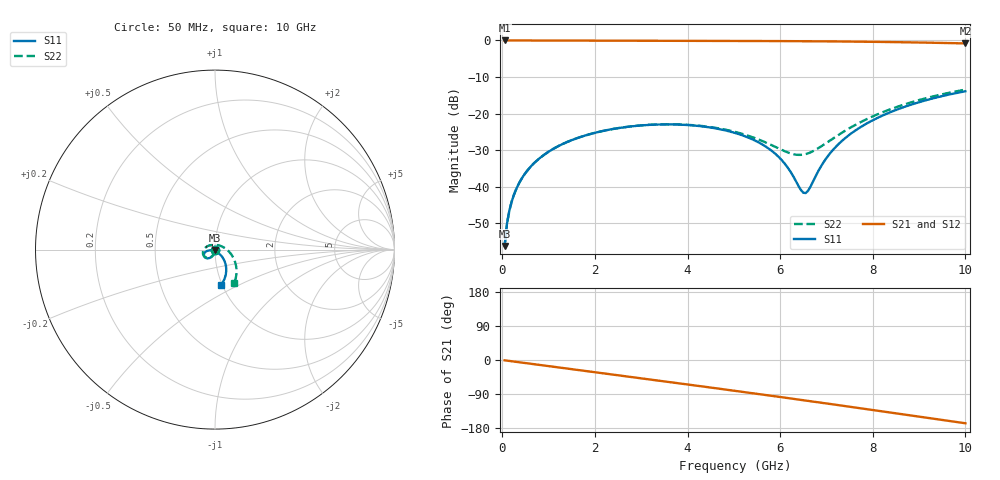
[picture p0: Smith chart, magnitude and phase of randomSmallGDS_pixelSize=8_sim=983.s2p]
! freq	dB(S11)	phase(S11)	dB(S12)	phase(S12)
!  dB(S21)	phase(S21)	dB(S22)	phase(S22)
!S-par simulation data
#  GHz  S  DB  R 50
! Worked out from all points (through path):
!   200 points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, 50 MHz to 10 GHz, reference 50 ohm
!   highest |S21| = 0.00 dB at 50 MHz (marker M1); lowest = -0.8 dB at 10 GHz (marker M2)
!   group delay of S21, straight-line fit = 46.3 ps
!   lowest |S11| = -56.2 dB at 50 MHz (marker M3), VSWR 1.00, Z = 50 - j0.156 ohm
!   |S11| at or under -10 dB: start of sweep to end of sweep
!   |S22| runs from -56.2 to -13.4 dB; largest |S21 - S12| = 0
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0.05  -56.16 -90.1  -0.00 -0.8  -0.00 -0.8  -56.19 -90.2
0.1  -50.14 -91.4  -0.00 -1.6  -0.00 -1.6  -50.17 -91.5
0.2  -44.13 -93.3  -0.01 -3.3  -0.01 -3.3  -44.15 -93.6
0.35  -39.28 -95.9  -0.01 -5.7  -0.01 -5.7  -39.29 -96.5
0.5  -36.21 -98.4  -0.01 -8.1  -0.01 -8.1  -36.21 -99.2
1  -30.39 -106.5  -0.02 -16.2  -0.02 -16.2  -30.39 -108.1
1.75  -26.12 -118.3  -0.04 -28.2  -0.04 -28.2  -26.11 -121.3
2.55  -23.86 -130.6  -0.06 -41.1  -0.06 -41.1  -23.85 -135.5
3.4  -22.95 -143.4  -0.08 -54.8  -0.08 -54.8  -22.92 -151.3
4.3  -23.45 -156.6  -0.11 -69.4  -0.11 -69.4  -23.35 -170.0
5.05  -25.35 -166.6  -0.13 -81.8  -0.13 -81.8  -25.05 170.7
5.5  -27.61 -171.2  -0.15 -89.2  -0.15 -89.2  -26.89 154.7
5.9  -31.01 -172.1  -0.17 -95.9  -0.17 -95.9  -29.10 133.5
6.15  -34.50 -167.4  -0.18 -100.2  -0.18 -100.2  -30.51 113.8
6.5  -41.59 -119.3  -0.21 -106.1  -0.21 -106.1  -31.18 76.1
6.6  -41.12 -89.2  -0.21 -107.8  -0.21 -107.8  -30.85 64.8
6.7  -38.79 -67.6  -0.22 -109.5  -0.22 -109.5  -30.31 54.1
6.95  -33.02 -47.9  -0.24 -113.8  -0.24 -113.8  -28.39 32.0
7.3  -27.83 -43.9  -0.28 -119.8  -0.28 -119.8  -25.46 10.8
7.75  -23.57 -47.0  -0.34 -127.6  -0.34 -127.6  -22.24 -7.3
8.35  -19.75 -54.7  -0.43 -138.1  -0.43 -138.1  -18.93 -24.5
10  -13.89 -80.9  -0.81 -167.0  -0.81 -167.0  -13.43 -59.5
